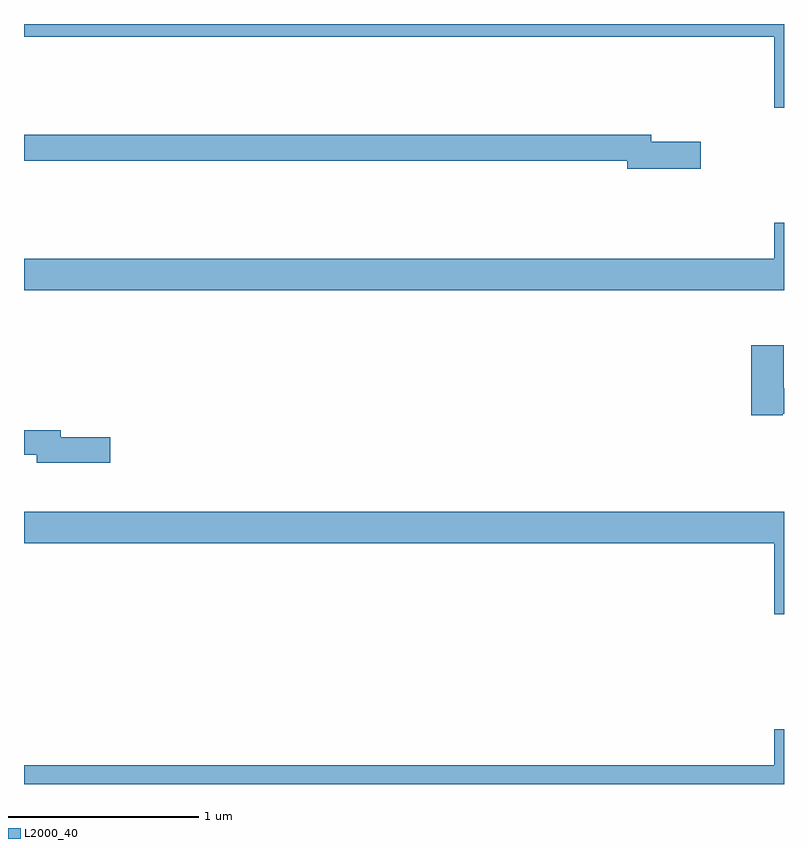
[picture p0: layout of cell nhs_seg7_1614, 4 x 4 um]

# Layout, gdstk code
import gdstk
lib = gdstk.Library(unit=1e-6, precision=1e-09)
def P(c, l, *ps):  # polygons
    for p in ps: c.add(gdstk.Polygon(p, *l))
L2000_40 = (2000, 40)

nhs_seg7_1614 = lib.new_cell('nhs_seg7_1614')
P(nhs_seg7_1614, L2000_40, [(225,1018),(221,1018),(221,1017.932),(224.948,1017.932),(224.948,1017.558),(225,1017.558)],
  [(224.563,1017.38),(224.302,1017.38),(224.302,1017.416),(221,1017.416),(221,1017.28),(224.174,1017.28),(224.174,1017.238),(224.563,1017.238)],
  [(225,1016.953),(224.948,1016.953),(224.948,1016.764),(221,1016.764),(221,1016.6),(225,1016.6)],
  [(224.994,1015.948),(225,1015.948),(225,1016.084),(224.998,1016.084),(224.998,1016.308),(224.828,1016.308),(224.828,1015.94),(224.994,1015.94)],
  [(221.455,1015.826),(221.194,1015.826),(221.194,1015.862),(221,1015.862),(221,1015.734),(221.066,1015.734),(221.066,1015.691),(221.455,1015.691)],
  [(225,1015.432),(221,1015.432),(221,1015.268),(224.948,1015.268),(224.948,1014.894),(225,1014.894)],
  [(225,1014.289),(224.948,1014.289),(224.948,1014.1),(221,1014.1),(221,1014),(225,1014)])

lib.write_gds('nhs_seg7_1614.gds')
